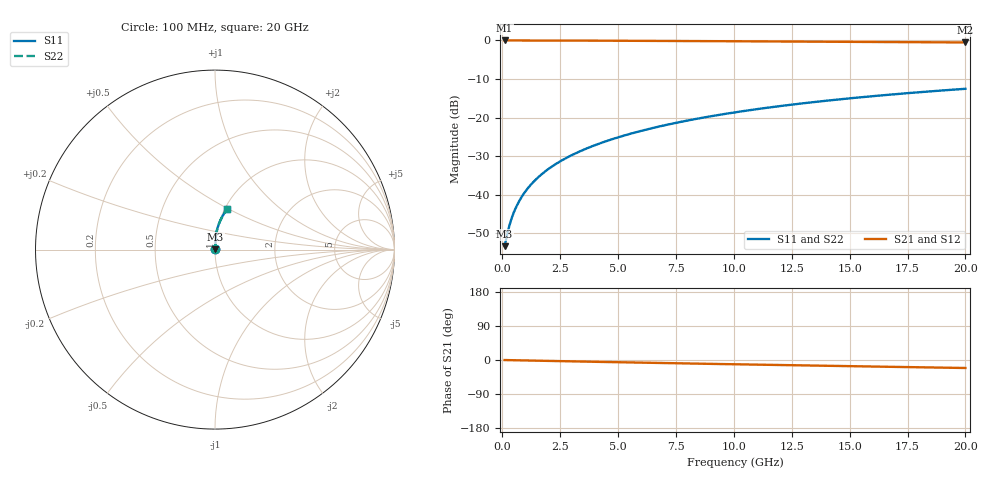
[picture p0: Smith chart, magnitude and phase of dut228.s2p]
! Touchstone file exported from HFSS 2024.1.0
!  File:  C:/UserFiles/LocalFiles/RDL_TSV_Batchsim/temp_RDL_bottom_228_1778700713.aedt
!  Generated:  03:34:20 AM May 14, 2026
!  Design:  RDL_bottom
!  Project:  temp_RDL_bottom_228_1778700713
!  Setup:  Setup1
!  Solution:  Sweep
! Variables:
!  dtsv = 10.80580581um
!  hbump = 3um
!  htsv = 51.68um
!  ldown = 262.13um
!  lrdl = 100um
!  p = 40
!  p1 = 48.35um
!  rhole = 1um
!  t = 450um
!  tdown = 2.93um
!  trdl = 3.915915916um
!  wdown = 20.08um
!  wrdl = 20um
# GHz S MA R 50.000000
! Terminal data exported
! Port[1] = RDL1_T1
! Port[2] = RDL1_T2
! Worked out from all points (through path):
!   200 points, 100 MHz to 20 GHz, reference 50 ohm
!   highest |S21| = -0.02 dB at 100 MHz (marker M1); lowest = -0.5 dB at 20 GHz (marker M2)
!   group delay of S21, straight-line fit = 2.91 ps
!   lowest |S11| = -53.3 dB at 100 MHz (marker M3), VSWR 1.00, Z = 50.2 + j0.117 ohm
!   |S11| at or under -10 dB: start of sweep to end of sweep
!   |S22| runs from -53.3 to -12.5 dB; largest |S21 - S12| = 2.7e-15
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0.1  0.002165 32.5  0.9982 -0.1  0.9982 -0.1  0.002165 32.5
! Gamma 0 0 0 0
! Port Impedance 50 0 50 0
0.2  0.002973 50.9  0.9981 -0.3  0.9981 -0.3  0.002973 50.9
0.3  0.003933 60.5  0.998 -0.4  0.998 -0.4  0.003933 60.5
0.4  0.004936 66.1  0.9979 -0.5  0.9979 -0.5  0.004936 66.1
0.5  0.005951 69.8  0.9978 -0.6  0.9978 -0.6  0.005951 69.8
0.6  0.006971 72.5  0.9978 -0.7  0.9978 -0.7  0.006971 72.5
0.8  0.009023 76.1  0.9976 -1.0  0.9976 -1.0  0.009023 76.1
1.1  0.01214 79.5  0.9973 -1.3  0.9973 -1.3  0.01214 79.5
1.3  0.01424 81.0  0.9971 -1.6  0.9971 -1.6  0.01424 81.0
1.6  0.01741 82.6  0.9968 -1.9  0.9968 -1.9  0.01741 82.6
2.1  0.02278 84.4  0.9961 -2.5  0.9961 -2.5  0.02278 84.4
2.7  0.02933 85.6  0.9952 -3.2  0.9952 -3.2  0.02933 85.6
3.5  0.03826 86.4  0.9936 -4.2  0.9936 -4.2  0.03826 86.4
4.2  0.04623 86.8  0.992 -5.0  0.992 -5.0  0.04623 86.8
5  0.05553 86.8  0.9899 -5.9  0.9899 -5.9  0.05553 86.8
5.9  0.0662 86.6  0.9874 -6.9  0.9874 -6.9  0.0662 86.6
6.8  0.07704 86.2  0.9847 -7.9  0.9847 -7.9  0.07704 86.2
8.4  0.09663 85.1  0.9798 -9.6  0.9798 -9.6  0.09663 85.1
10.1  0.1176 83.6  0.9743 -11.3  0.9743 -11.3  0.1176 83.6
13.4  0.1583 80.2  0.9635 -14.7  0.9635 -14.7  0.1583 80.2
16.7  0.198 76.7  0.9523 -17.9  0.9523 -17.9  0.198 76.7
20  0.2362 73.2  0.9407 -21.1  0.9407 -21.1  0.2362 73.2
